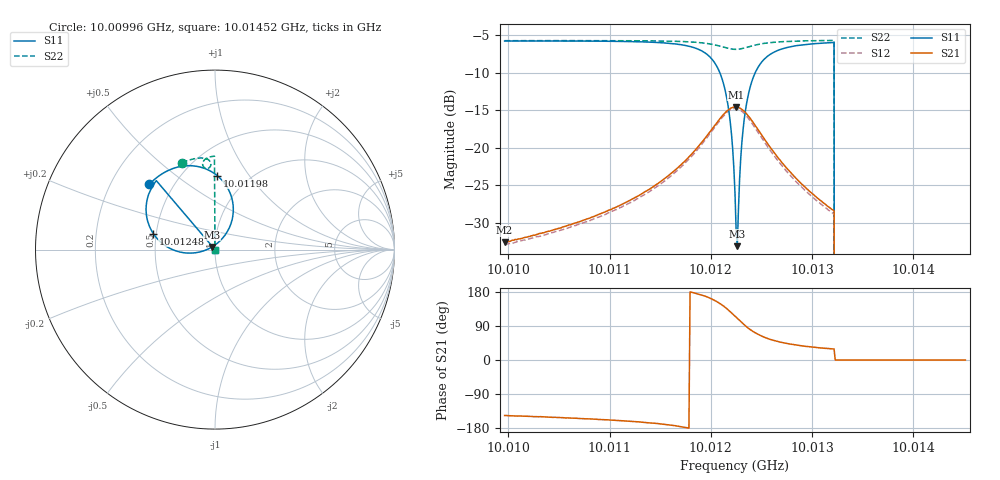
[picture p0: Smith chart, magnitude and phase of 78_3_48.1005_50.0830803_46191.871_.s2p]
#  HZ  S  RI  R  50.00
! Rohde & Schwarz Vector Network Analyzer
! Rohde-Schwarz,ZNB20-2Port,1311601062101988,3.16
! Created: UTC 12/23/2023, 3:42:29 AM
! freq[Hz]  re:S11  im:S11  re:S21  im:S21  re:S12  im:S12  re:S22  im:S22
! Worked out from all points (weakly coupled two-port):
!   401 points, 10.00996 GHz to 10.01452 GHz, reference 50 ohm
!   highest |S21| = -14.53 dB at 10.01225 GHz (marker M1); lowest = -32.6 dB at 10.00996 GHz (marker M2)
!   lowest |S11| = -33.1 dB at 10.01226 GHz (marker M3), VSWR 1.05, Z = 48.3 + j1.38 ohm
!   |S11| at or under -10 dB: 10.01209 GHz to 10.01244 GHz (347.7 kHz wide, 0.00347 % of centre); 10.01322 GHz to end of sweep
!   |S22| runs from - to -5.7 dB; largest |S21 - S12| = 0.0089
!   S11 on the Smith chart (normalised r, x): 10.00996 GHz: 0.37, +0.36; 10.01198 GHz: 0.72, +0.72; 10.01248 GHz: 0.48, +0.10; 10.01452 GHz: 1.00, +0.00
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1.0009963e10  -0.3671 0.3631  -0.0196 -0.0131  -0.0183 -0.0134  -0.1838 0.4852
1.0010725e10  -0.3113 0.411  -0.0296 -0.014  -0.0277 -0.015  -0.1345 0.5015
1.0011488e10  -0.2041 0.4608  -0.0575 -0.012  -0.0547 -0.0145  -0.0782 0.5105
1.0011807e10  -0.0944 0.4626  -0.0904 0.00154  -0.0873 -0.00295  -0.0481 0.5063
1.0011977e10  0.0119 0.4126  -0.1202 0.0321  -0.1183 0.0254  -0.0299 0.4943
1.0012091e10  0.0891 0.3021  -0.1343 0.0812  -0.1349 0.073  -0.0226 0.4766
1.0012159e10  0.0993 0.1869  -0.1252 0.1244  -0.1276 0.116  -0.0262 0.4627
1.0012205e10  0.0692 0.1012  -0.104 0.1531  -0.1078 0.1456  -0.034 0.4552
1.0012239e10  0.0233 0.0441  -0.0809 0.1692  -0.0846 0.1625  -0.0419 0.4523
1.001225e10  0.00361 0.0278  -0.0719 0.1733  -0.0764 0.1664  -0.0448 0.452
1.0012262e10  -0.017 0.0143  -0.0632 0.1761  -0.0676 0.1695  -0.0474 0.4521
1.0012273e10  -0.0389 0.00282  -0.0543 0.1782  -0.0583 0.1716  -0.0503 0.4526
1.0012307e10  -0.1083 -0.0176  -0.0265 0.1788  -0.0305 0.1728  -0.0581 0.4558
1.0012341e10  -0.175 -0.0174  -0.00103 0.1724  -0.00547 0.1665  -0.0639 0.4613
1.0012398e10  -0.2675 0.0158  0.0306 0.1515  0.0244 0.1467  -0.0685 0.4723
1.0012478e10  -0.3434 0.0888  0.0519 0.1182  0.0459 0.1149  -0.0672 0.4867
1.001266e10  -0.3841 0.2275  0.0569 0.0655  0.052 0.0644  -0.0514 0.5061
1.0013001e10  -0.3518 0.347  0.041 0.028  0.0378 0.0282  -0.0203 0.518
1.0013195e10  -0.3295 0.3808  0.034 0.0192  0.0315 0.0198  -0.00479 0.5205
1.0013252e10  0 0  0 0  0 0  0 0
1.0013764e10  0 0  0 0  0 0  0 0
1.0014515e10  0 0  0 0  0 0  0 0
